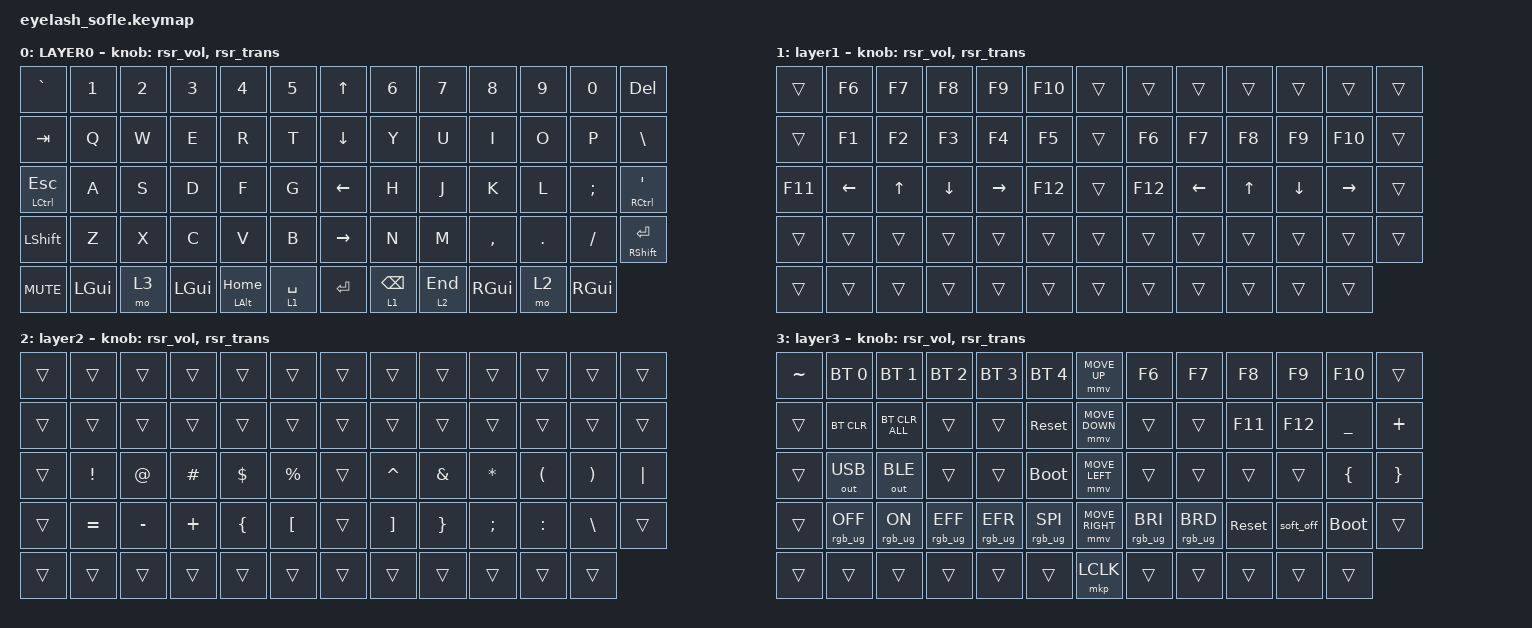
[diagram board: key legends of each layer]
#include <input/processors.dtsi>
#include <zephyr/dt-bindings/input/input-event-codes.h>
#include <behaviors/runtime-sensor-rotate.dtsi>
#include <behaviors.dtsi>
#include <dt-bindings/zmk/bt.h>
#include <dt-bindings/zmk/keys.h>
#include <dt-bindings/zmk/outputs.h>
#include <dt-bindings/zmk/pointing.h>
#include <dt-bindings/zmk/rgb.h>

/ {
    zip_scroll_scaler: zip_scroll_scaler {
        compatible = "zmk,input-processor-scaler";
        #input-processor-cells = <2>;
        type = <INPUT_EV_REL>;
        codes = <INPUT_REL_WHEEL INPUT_REL_HWHEEL>;
        track-remainders;
    };
};

//重新配置 ZMK 内置的 hold_tap 行为
&mt {quick-tap-ms = <230>;};
&lt {quick-tap-ms = <230>;};

&mmv_input_listener { input-processors = <&zip_xy_scaler 2 1>; };

&msc_input_listener { input-processors = <&zip_scroll_scaler 2 1>; };

&msc {
    acceleration-exponent = <0>;      // 0
    time-to-max-speed-ms = <0>;       // 300
    delay-ms = <0>;                   // 0
};

&mmv {
    time-to-max-speed-ms = <400>;
    acceleration-exponent = <1>;
};

&soft_off { hold-time-ms = <2000>; };

/ {
    behaviors {
        rsr_vol: rsr_vol {
            compatible = "zmk,behavior-runtime-sensor-rotate";
            #sensor-binding-cells = <0>;
            tap-ms = <5>;
            cw-binding = <&kp C_VOL_UP>;
            ccw-binding = <&kp C_VOL_DN>;
        };

        rsr_trans: rsr_trans {
            compatible = "zmk,behavior-runtime-sensor-rotate";
            #sensor-binding-cells = <0>;
            tap-ms = <0>;
        };
    };

    macros {
        shift_MB3: shift_MB3 {
            compatible = "zmk,behavior-macro";
            #binding-cells = <0>;
            bindings =
                <&macro_press>,
                <&kp LEFT_SHIFT>,
                <&macro_press>,
                <&mkp MB3>,
                <&macro_pause_for_release>,
                <&macro_release>,
                <&mkp MB3 &kp LEFT_SHIFT>;

            label = "SHIFT_MB3";
        };
    };

    combos {
        compatible = "zmk,combos";

        softoff {
            bindings = <&soft_off>;
            key-positions = <14 28 40>;
        };
    };

    keymap {
        compatible = "zmk,keymap";

        layer0 {
            bindings = <
&kp GRAVE      &kp N1    &kp N2  &kp N3    &kp N4         &kp N5         &kp UP_ARROW     &kp N6           &kp N7     &kp N8     &kp N9   &kp N0    &kp DEL
&kp TAB        &kp Q     &kp W   &kp E     &kp R          &kp T          &kp DOWN_ARROW   &kp Y            &kp U      &kp I      &kp O    &kp P     &kp BSLH
&mt LCTRL ESC  &kp A     &kp S   &kp D     &kp F          &kp G          &kp LEFT_ARROW   &kp H            &kp J      &kp K      &kp L    &kp SEMI  &mt RCTRL APOS
&kp LSHFT      &kp Z     &kp X   &kp C     &kp V          &kp B          &kp RIGHT_ARROW  &kp N            &kp M      &kp COMMA  &kp DOT  &kp FSLH  &mt RSHIFT ENTER
&kp C_MUTE     &kp LGUI  &mo 3   &kp LGUI  &mt LALT HOME  &lt 1 SPACE    &kp ENTER        &lt 1 BACKSPACE  &lt 2 END  &kp RGUI   &mo 2    &kp RGUI
            >;

            sensor-bindings = <&rsr_vol &rsr_trans>;
            display-name = "LAYER0";
        };

        layer_1 {
            bindings = <
&trans   &kp F6    &kp F7  &kp F8    &kp F9     &kp F10    &trans  &trans   &trans    &trans  &trans    &trans     &trans
&trans   &kp F1    &kp F2  &kp F3    &kp F4     &kp F5     &trans  &kp F6   &kp F7    &kp F8  &kp F9    &kp F10    &trans
&kp F11  &kp LEFT  &kp UP  &kp DOWN  &kp RIGHT  &kp F12    &trans  &kp F12  &kp LEFT  &kp UP  &kp DOWN  &kp RIGHT  &trans
&trans   &trans    &trans  &trans    &trans     &trans     &trans  &trans   &trans    &trans  &trans    &trans     &trans
&trans   &trans    &trans  &trans    &trans     &trans     &trans  &trans   &trans    &trans  &trans    &trans
            >;

            display-name = "layer1";
            sensor-bindings = <&rsr_vol &rsr_trans>;
        };

        layer_2 {
            bindings = <
&trans  &trans           &trans       &trans     &trans          &trans         &trans  &trans     &trans           &trans     &trans                &trans                 &trans
&trans  &trans           &trans       &trans     &trans          &trans         &trans  &trans     &trans           &trans     &trans                &trans                 &trans
&trans  &kp EXCLAMATION  &kp AT_SIGN  &kp POUND  &kp DOLLAR      &kp PERCENT    &trans  &kp CARET  &kp AMPERSAND    &kp ASTRK  &kp LEFT_PARENTHESIS  &kp RIGHT_PARENTHESIS  &kp PIPE
&trans  &kp EQUAL        &kp MINUS    &kp PLUS   &kp LEFT_BRACE  &kp LBKT       &trans  &kp RBKT   &kp RIGHT_BRACE  &kp SEMI   &kp COLON             &kp BSLH               &trans
&trans  &trans           &trans       &trans     &trans          &trans         &trans  &trans     &trans           &trans     &trans                &trans
            >;

            display-name = "layer2";
            sensor-bindings = <&rsr_vol &rsr_trans>;
        };

        layer_3 {
            bindings = <
&kp TILDE  &bt BT_SEL 0     &bt BT_SEL 1    &bt BT_SEL 2     &bt BT_SEL 3     &bt BT_SEL 4       &mmv MOVE_UP     &kp F6           &kp F7           &kp F8      &kp F9     &kp F10      &trans
&trans     &bt BT_CLR       &bt BT_CLR_ALL  &trans           &trans           &sys_reset         &mmv MOVE_DOWN   &trans           &trans           &kp F11     &kp F12    &kp UNDER    &kp PLUS
&trans     &out OUT_USB     &out OUT_BLE    &trans           &trans           &bootloader        &mmv MOVE_LEFT   &trans           &trans           &trans      &trans     &kp LBRC     &kp RBRC
&trans     &rgb_ug RGB_OFF  &rgb_ug RGB_ON  &rgb_ug RGB_EFF  &rgb_ug RGB_EFR  &rgb_ug RGB_SPI    &mmv MOVE_RIGHT  &rgb_ug RGB_BRI  &rgb_ug RGB_BRD  &sys_reset  &soft_off  &bootloader  &trans
&trans     &trans           &trans          &trans           &trans           &trans             &mkp LCLK        &trans           &trans           &trans      &trans     &trans
            >;

            display-name = "layer3";
            sensor-bindings = <&rsr_vol &rsr_trans>;
        };
    };
};
